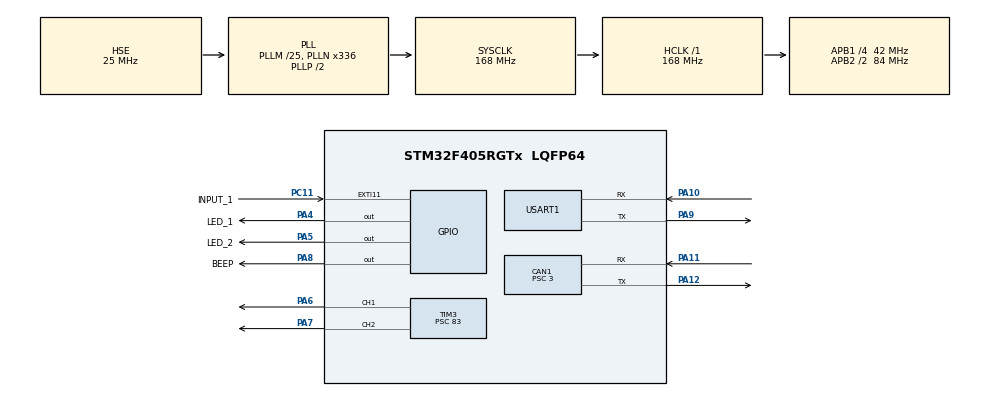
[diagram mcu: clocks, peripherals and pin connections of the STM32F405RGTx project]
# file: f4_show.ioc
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CAN1.ABOM=ENABLE
CAN1.AWUM=ENABLE
CAN1.BS1=CAN_BS1_9TQ
CAN1.BS2=CAN_BS2_4TQ
CAN1.CalculateBaudRate=1000000
CAN1.CalculateTimeBit=1000
CAN1.CalculateTimeQuantum=71.42857142857143
CAN1.Mode=CAN_MODE_NORMAL
CAN1.NART=ENABLE
CAN1.Prescaler=3
CAN1.RFLM=DISABLE
Dma.Request0=USART1_RX
Dma.Request1=USART1_TX
Dma.USART1_RX.0.Direction=DMA_PERIPH_TO_MEMORY
Dma.USART1_RX.0.FIFOMode=DMA_FIFOMODE_DISABLE
Dma.USART1_RX.0.Instance=DMA2_Stream2
Dma.USART1_RX.0.MemDataAlignment=DMA_MDATAALIGN_BYTE
Dma.USART1_RX.0.MemInc=DMA_MINC_ENABLE
Dma.USART1_RX.0.Mode=DMA_NORMAL
Dma.USART1_RX.0.PeriphDataAlignment=DMA_PDATAALIGN_BYTE
Dma.USART1_RX.0.PeriphInc=DMA_PINC_DISABLE
Dma.USART1_RX.0.Priority=DMA_PRIORITY_LOW
Dma.USART1_TX.1.Direction=DMA_MEMORY_TO_PERIPH
Dma.USART1_TX.1.FIFOMode=DMA_FIFOMODE_DISABLE
Dma.USART1_TX.1.Instance=DMA2_Stream7
Dma.USART1_TX.1.MemDataAlignment=DMA_MDATAALIGN_BYTE
Dma.USART1_TX.1.MemInc=DMA_MINC_ENABLE
Dma.USART1_TX.1.Mode=DMA_NORMAL
Dma.USART1_TX.1.PeriphDataAlignment=DMA_PDATAALIGN_BYTE
Dma.USART1_TX.1.PeriphInc=DMA_PINC_DISABLE
Dma.USART1_TX.1.Priority=DMA_PRIORITY_LOW
FREERTOS.Tasks01=LEDtTask,24,128,LED_Task,As weak,NULL,Dynamic,NULL,NULL;BeepTask,8,128,Beep_task,Default,NULL,Dynamic,NULL,NULL
Mcu.Family=STM32F4
Mcu.Name=STM32F405RGTx
Mcu.Package=LQFP64
NVIC.CAN1_RX0_IRQn=true\:5\:0\:true\:false\:true\:true\:true\:true\:true
NVIC.CAN1_RX1_IRQn=true\:5\:0\:true\:false\:true\:true\:true\:true\:true
NVIC.DMA2_Stream2_IRQn=true\:5\:0\:false\:false\:true\:true\:false\:true\:true
NVIC.DMA2_Stream7_IRQn=true\:5\:0\:false\:false\:true\:true\:false\:true\:true
NVIC.EXTI15_10_IRQn=true\:5\:0\:false\:false\:true\:true\:true\:true\:true
NVIC.PriorityGroup=NVIC_PRIORITYGROUP_4
NVIC.TIM1_UP_TIM10_IRQn=true\:15\:0\:false\:false\:true\:false\:false\:true\:true
NVIC.TIM2_IRQn=true\:5\:0\:true\:false\:true\:true\:true\:true\:true
NVIC.TimeBase=TIM1_UP_TIM10_IRQn
NVIC.TimeBaseIP=TIM1
NVIC.USART1_IRQn=true\:5\:0\:true\:false\:true\:true\:true\:true\:true
PA10.GPIO_PuPd=GPIO_PULLUP
PA10.GPIO_Speed=GPIO_SPEED_FREQ_VERY_HIGH
PA10.Mode=Asynchronous
PA10.Signal=USART1_RX
PA11.Mode=CAN_Activate
PA11.Signal=CAN1_RX
PA12.Mode=CAN_Activate
PA12.Signal=CAN1_TX
PA13.Mode=Serial_Wire
PA13.Signal=SYS_JTMS-SWDIO
PA14.Mode=Serial_Wire
PA14.Signal=SYS_JTCK-SWCLK
PA4.GPIO_Label=LED_1
PA4.GPIO_PuPd=GPIO_PULLDOWN
PA4.Signal=GPIO_Output
PA5.GPIO_Label=LED_2
PA5.GPIO_PuPd=GPIO_PULLDOWN
PA5.Signal=GPIO_Output
PA6.Signal=S_TIM3_CH1
PA7.Signal=S_TIM3_CH2
PA8.GPIO_Label=BEEP
PA8.GPIO_PuPd=GPIO_PULLDOWN
PA8.Signal=GPIO_Output
PA9.Mode=Asynchronous
PA9.Signal=USART1_TX
PC11.GPIO_Label=INPUT_1
PC11.GPIO_ModeDefaultEXTI=GPIO_MODE_IT_RISING_FALLING
PC11.GPIO_PuPd=GPIO_PULLDOWN
PC11.Signal=GPXTI11
PH0-OSC_IN.Mode=HSE-External-Oscillator
PH0-OSC_IN.Signal=RCC_OSC_IN
PH1-OSC_OUT.Mode=HSE-External-Oscillator
PH1-OSC_OUT.Signal=RCC_OSC_OUT
ProjectManager.HeapSize=0x800
ProjectManager.StackSize=0x400
ProjectManager.TargetToolchain=MDK-ARM V5.32
RCC.48MHZClocksFreq_Value=84000000
RCC.AHBFreq_Value=168000000
RCC.APB1CLKDivider=RCC_HCLK_DIV4
RCC.APB1Freq_Value=42000000
RCC.APB1TimFreq_Value=84000000
RCC.APB2CLKDivider=RCC_HCLK_DIV2
RCC.APB2Freq_Value=84000000
RCC.APB2TimFreq_Value=168000000
RCC.CortexFreq_Value=168000000
RCC.HCLKFreq_Value=168000000
RCC.HSE_VALUE=25000000
RCC.HSI_VALUE=16000000
RCC.LSE_VALUE=32768
RCC.PLLM=25
RCC.PLLN=336
RCC.PLLSourceVirtual=RCC_PLLSOURCE_HSE
RCC.SYSCLKFreq_VALUE=168000000
RCC.SYSCLKSource=RCC_SYSCLKSOURCE_PLLCLK
RCC.VCOOutputFreq_Value=336000000
SH.S_TIM3_CH1.0=TIM3_CH1,PWM Generation1 CH1
SH.S_TIM3_CH2.0=TIM3_CH2,PWM Generation2 CH2
TIM2.Period=1999
TIM2.Prescaler=83
TIM3.AutoReloadPreload=TIM_AUTORELOAD_PRELOAD_ENABLE
TIM3.Channel-PWM\ Generation1\ CH1=TIM_CHANNEL_1
TIM3.Channel-PWM\ Generation2\ CH2=TIM_CHANNEL_2
TIM3.OCFastMode_PWM-PWM\ Generation1\ CH1=TIM_OCFAST_DISABLE
TIM3.Period=999
TIM3.Prescaler=83
USART1.VirtualMode=VM_ASYNC
VP_FREERTOS_VS_CMSIS_V2.Mode=CMSIS_V2
VP_SYS_VS_tim1.Mode=TIM1
VP_TIM2_VS_ClockSourceINT.Mode=Internal
VP_TIM3_VS_ClockSourceINT.Mode=Internal
board=custom

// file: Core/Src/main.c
/* USER CODE BEGIN Header */
/**
  ******************************************************************************
  * @file           : main.c
  * @brief          : Main program body
  ******************************************************************************
  * @attention
  *
  * Copyright (c) 2026 STMicroelectronics.
  * All rights reserved.
  *
  * This software is licensed under terms that can be found in the LICENSE file
  * in the root directory of this software component.
  * If no LICENSE file comes with this software, it is provided AS-IS.
  *
  ******************************************************************************
  */
/* USER CODE END Header */
#include "main.h"
#include "cmsis_os.h"
#include "can.h"
#include "dma.h"
#include "tim.h"
#include "usart.h"
#include "gpio.h"

/* USER CODE BEGIN Includes */
#include "stdint.h"
#include "beep.h"
#include "led.h"
#include "uart_app.h"
#include "vofa_app.h"
#include "can_app.h"
#include "dji_motor.h"
#include "ZDrive.h"
#include "Lift.h"
#include "motor.h"
/* USER CODE END Includes */

/* USER CODE BEGIN PTD */

typedef enum
{
  KEY_NONE = 0,
  KEY_SHORT,
  KEY_LONG
} key_event_t;

/* USER CODE END PTD */

/* USER CODE BEGIN PD */
#define KEY_DEBOUNCE_MS  20U
#define LONG_PRESS_MS    1000U
/* USER CODE END PD */

/* USER CODE BEGIN PV */
static volatile key_event_t key_event = KEY_NONE;
static volatile uint32_t tick_2ms_count = 0;
// extern DJI_motor_t dji_motor[4];
// extern Zdrive_t zdrive[4];
Motor_t lift_motor;
// volatile uint8_t tick_2ms_flag = 0;

// uint32_t press_time;
// uint32_t release_time;
// uint32_t last_edge_time;

// uint16_t flow_tick_count = 0;

// uint8_t breath_value = 0;
// breath_state_t current_breath = 0;

/* USER CODE END PV */

void SystemClock_Config(void);
void MX_FREERTOS_Init(void);
/* USER CODE BEGIN PFP */
// static void StateMachine_Process(void);
/* USER CODE END PFP */

int main(void)
{

  /* USER CODE BEGIN 1 */
  uint32_t last_control_tick = 0;
  /* USER CODE END 1 */

  /* MCU Configuration--------------------------------------------------------*/

  /* Reset of all peripherals, Initializes the Flash interface and the Systick. */
  HAL_Init();

  /* Configure the system clock */
  SystemClock_Config();

  /* Initialize all configured peripherals */
  MX_GPIO_Init();
  MX_DMA_Init();
  MX_TIM2_Init();
  MX_TIM3_Init();
  MX_USART1_UART_Init();
  MX_CAN1_Init();
  /* USER CODE BEGIN 2 */
  uart_app_init();
  can_app_init();

  DJI_motor_init();
  ZdriveInit(); /*具体 Driver 全局初始化*/

  Motor_Init(&lift_motor,MOTOR_TYPE_DJI,1); /*通用 Motor 实例初始化*/

  Lift_Init(&lift_motor);  /*具体 Mechanism 初始化*/

  // DJI_motor_SetMode(&dji_motor[1], DJ_Position);
  /* USER CODE END 2 */

  /* Init scheduler */
  // osKernelInitialize();  /* Call init function for freertos objects (in cmsis_os2.c) */
  // MX_FREERTOS_Init();

  /* Start scheduler */
  // osKernelStart();

  /* We should never get here as control is now taken by the scheduler */

  /* Infinite loop */
  /* USER CODE BEGIN WHILE */
  while (1)
  {
    // vofa_app_process();

    // StateMachine_Process();
    if (tick_2ms_count - last_control_tick >= 50U)
    {
      last_control_tick = tick_2ms_count;
      ZdriveFunc();
      Lift_Process();
      // DJI_motor_Func();
      // StateMachine_Process();
    }
    // uart_app_process(tick_2ms_count);

    // BEEP_Process(tick_2ms_count);
    // can_app_process(tick_2ms_count);
    // LED_Process(tick_2ms_count);
    // else if (current_state == STATE_BREATH)
    // {
    //     LED_BreathProcess(tick_2ms_count);
    // }
    /* USER CODE END WHILE */

  }
}

void SystemClock_Config(void)
{
  RCC_OscInitTypeDef RCC_OscInitStruct = {0};
  RCC_ClkInitTypeDef RCC_ClkInitStruct = {0};

  /** Configure the main internal regulator output voltage
  */
  __HAL_RCC_PWR_CLK_ENABLE();
  __HAL_PWR_VOLTAGESCALING_CONFIG(PWR_REGULATOR_VOLTAGE_SCALE1);

  /** Initializes the RCC Oscillators according to the specified parameters
  * in the RCC_OscInitTypeDef structure.
  */
  RCC_OscInitStruct.OscillatorType = RCC_OSCILLATORTYPE_HSE;
  RCC_OscInitStruct.HSEState = RCC_HSE_ON;
  RCC_OscInitStruct.PLL.PLLState = RCC_PLL_ON;
  RCC_OscInitStruct.PLL.PLLSource = RCC_PLLSOURCE_HSE;
  RCC_OscInitStruct.PLL.PLLM = 25;
  RCC_OscInitStruct.PLL.PLLN = 336;
  RCC_OscInitStruct.PLL.PLLP = RCC_PLLP_DIV2;
  RCC_OscInitStruct.PLL.PLLQ = 4;
  if (HAL_RCC_OscConfig(&RCC_OscInitStruct) != HAL_OK)
  {
    Error_Handler();
  }

  /** Initializes the CPU, AHB and APB buses clocks
  */
  RCC_ClkInitStruct.ClockType = RCC_CLOCKTYPE_HCLK|RCC_CLOCKTYPE_SYSCLK
                              |RCC_CLOCKTYPE_PCLK1|RCC_CLOCKTYPE_PCLK2;
  RCC_ClkInitStruct.SYSCLKSource = RCC_SYSCLKSOURCE_PLLCLK;
  RCC_ClkInitStruct.AHBCLKDivider = RCC_SYSCLK_DIV1;
  RCC_ClkInitStruct.APB1CLKDivider = RCC_HCLK_DIV4;
  RCC_ClkInitStruct.APB2CLKDivider = RCC_HCLK_DIV2;

  if (HAL_RCC_ClockConfig(&RCC_ClkInitStruct, FLASH_LATENCY_5) != HAL_OK)
  {
    Error_Handler();
  }
}

/* USER CODE BEGIN 4 */
// void HAL_GPIO_EXTI_Callback(uint16_t GPIO_Pin)
// {
//   static uint32_t press_time = 0;
//   static uint32_t last_edge_time = 0;

//   GPIO_PinState pin_state;

//   if (GPIO_Pin != INPUT_1_Pin)
//   {
//     return;
//   }
//   uint32_t now = HAL_GetTick();
//   if (now - last_edge_time < KEY_DEBOUNCE_MS)
//   {
//     // 消抖，20ms内忽略
//     return;
//   }
//   last_edge_time = now;
//   // 后面再写消抖和长短按判断
//   pin_state = HAL_GPIO_ReadPin(INPUT_1_GPIO_Port, INPUT_1_Pin);
//   if (pin_state == GPIO_PIN_SET)
//   {
//     // 按下
//     press_time = now;
//   }
//   else
//   {
//     // 弹起
//     if (now - press_time >= LONG_PRESS_MS)
//     {
//       // 长按
//       key_event = KEY_LONG;
//     }
//     else
//     {
//       // 短按
//       key_event = KEY_SHORT;
//     }
//   }

// }

//状态机函数
// static void StateMachine_Process(void)
// {
//     led_state_t old_state;

//     if (key_event == KEY_NONE)
//     {
//         return;
//     }
//     old_state = current_state;
//     switch (current_state)
//     {
//         case STATE_OFF:
//         case STATE_BREATH:
//         case STATE_FLOW:
//         if (key_event == KEY_SHORT)
//         {
//             current_state = STATE_BREATH;
//         }
//         else if (key_event == KEY_LONG)
//         {
//             current_state = STATE_FLOW;
//         }
//         break;

//         default:
//         break;
//     }

//     if (current_state != old_state)
//     {
//       // 状态发生变化，执行相应的操作
//       BEEP_Trigger(tick_2ms_count);
//       if (current_state == STATE_FLOW)
//       {
//         LED_FlowEnter(tick_2ms_count);
//       }
//       else if (current_state == STATE_BREATH)
//       {
//         LED_BreathEnter(tick_2ms_count);
//       }

//     }
//     key_event = KEY_NONE;
// }

/* USER CODE END 4 */

void HAL_TIM_PeriodElapsedCallback(TIM_HandleTypeDef *htim)
{
  if (htim->Instance == TIM1)
  {
    HAL_IncTick();
  }
  /* USER CODE BEGIN Callback 1 */
  if (htim->Instance == TIM2)
  {
    tick_2ms_count++;
  }
  /* USER CODE END Callback 1 */
}

void Error_Handler(void)
{
  __disable_irq();
  while (1)
  {
  }
}
